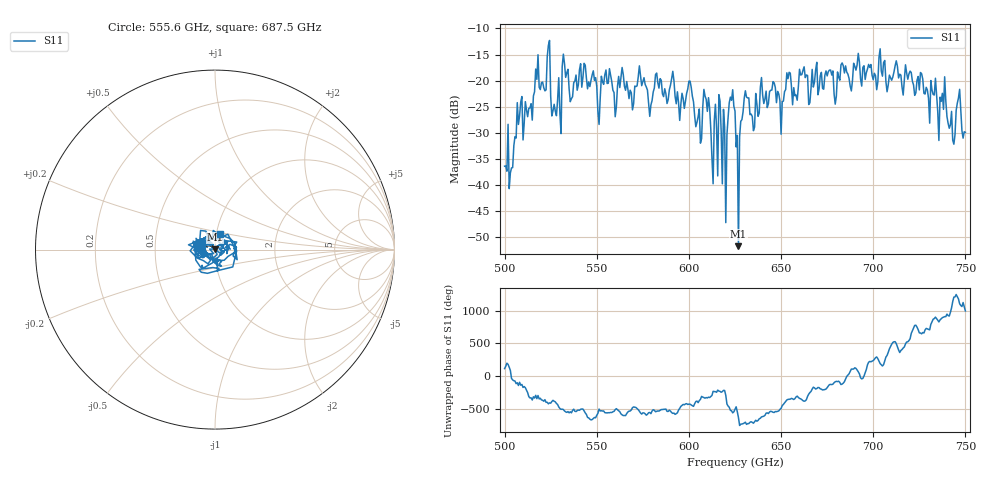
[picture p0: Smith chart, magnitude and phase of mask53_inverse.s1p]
!Created with skrf (http://scikit-rf.org).
# GHz S MA R 50.0
!freq magS11 angS11
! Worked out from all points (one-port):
!   401 points, 500 GHz to 750 GHz, reference 50 ohm
!   lowest |S11| = -51.8 dB at 626.9 GHz (marker M1), VSWR 1.01, Z = 50 + j0.258 ohm
!   |S11| at or under -10 dB: start of sweep to end of sweep
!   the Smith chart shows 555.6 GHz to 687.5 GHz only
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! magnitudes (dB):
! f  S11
! 500 GHz  -36.4
! 503.8 GHz  -36.8
! 508.1 GHz  -26.7
! 513.8 GHz  -25.2
! 517.5 GHz  -19.8
! 523.8 GHz  -13.2
! 526.9 GHz  -24.5
! 531.2 GHz  -17.3
! 562.5 GHz  -21.3
! 593.8 GHz  -22.2
! 600.6 GHz  -20.1
! 605.6 GHz  -25.5
! 609.4 GHz  -23.6
! 612.5 GHz  -34.9
! 617.5 GHz  -29.8
! 619.4 GHz  -28.9
! 622.5 GHz  -23.2
! 625 GHz  -25.8
! 626.9 GHz  -51.8
! 631.2 GHz  -23.2
! 634.4 GHz  -26.9
! 656.2 GHz  -24.6
! 687.5 GHz  -21.1
! 718.8 GHz  -19.7
! 738.1 GHz  -25.5
! 743.1 GHz  -31.4
! 746.2 GHz  -23.3
! 750 GHz  -29.9
